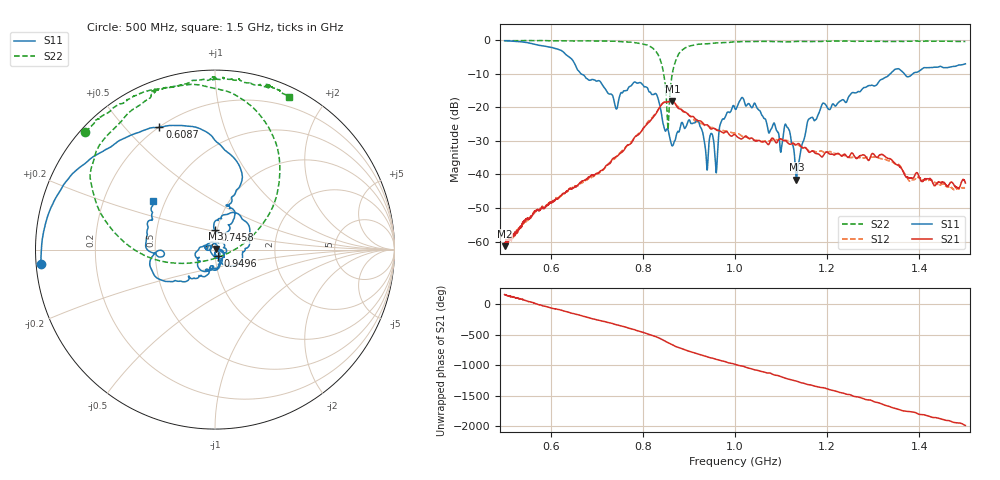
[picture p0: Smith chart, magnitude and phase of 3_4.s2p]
!Agilent Technologies,E8364B,US42250235,A.06.04.32
!Agilent E8364B: A.06.04.32
!Date: Thursday, October 01, 2020 14:39:28
!Correction: S11(Full 2 Port(1,2)) S21(Full 2 Port(1,2)) S12(Full 2 Port(1,2)) S22(Full 2 Port(1,2))
!S2P File: Measurements: S11, S21, S12, S22:
# Hz S  dB  R 50
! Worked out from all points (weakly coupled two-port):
!   2650 points, 500 MHz to 1.5 GHz, reference 50 ohm
!   highest |S21| = -18.28 dB at 864.3 MHz (marker M1); lowest = -61.3 dB at 500.4 MHz (marker M2)
!   lowest |S11| = -41.5 dB at 1.133 GHz (marker M3), VSWR 1.02, Z = 50.6 + j0.583 ohm
!   |S11| at or under -10 dB: 665.2 MHz to 1.338 GHz (672.4 MHz wide, 67.1 % of centre); 1.367 GHz to 1.387 GHz (19.4 MHz wide, 1.41 % of centre)
!   |S22| runs from -26.7 to -0.2 dB; largest |S21 - S12| = 0.019
!   S11 on the Smith chart (normalised r, x): 500 MHz: 0.01, -0.04; 608.7 MHz: 0.20, +0.63; 745.8 MHz: 0.97, +0.21; 949.6 MHz: 1.03, -0.07; 1.5 GHz: 0.43, +0.29
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5e8  -0.23 -175.2  -60.51 160.1  -61.00 161.0  -0.23 137.8
5.003775e8  -0.24 -175.4  -61.32 156.0  -61.18 164.3  -0.23 137.7
6.087203e8  -2.51 114.4  -47.84 -74.4  -47.45 -69.9  -0.29 127.2
6.668554e8  -10.17 71.9  -42.15 173.4  -42.55 171.1  -0.29 120.2
7.457531e8  -19.24 91.2  -34.41 19.6  -34.35 21.6  -0.45 109.4
7.835032e8  -12.53 54.6  -28.75 -60.0  -28.80 -61.7  -0.84 92.5
8.337108e8  -17.76 -45.6  -20.63 173.3  -20.77 166.6  -4.55 52.5
8.540959e8  -26.52 -77.5  -18.42 95.4  -18.40 89.1  -26.19 -49.5
8.642884e8  -31.49 -172.7  -18.28 57.9  -18.32 49.7  -9.75 -169.5
8.93356e8  -25.87 12.4  -21.54 -29.8  -21.63 -39.7  -2.27 153.1
9.209136e8  -24.32 -57.1  -24.03 -95.9  -24.56 -105.1  -1.29 139.6
9.382786e8  -36.66 -87.9  -25.23 -135.6  -25.56 -141.7  -1.15 131.3
9.496036e8  -27.89 -62.9  -26.48 -158.2  -26.07 -166.6  -1.04 125.5
9.590411e8  -39.33 -54.8  -26.71 179.7  -26.56 171.9  -0.90 122.2
9.703662e8  -24.26 -35.9  -27.30 156.6  -26.76 149.0  -0.84 117.5
1.000189e9  -20.51 -97.7  -28.18 95.3  -27.74 84.7  -0.58 112.1
1.099849e9  -33.16 168.8  -29.41 -106.0  -29.49 -117.5  -0.52 106.5
1.112684e9  -25.88 140.9  -30.34 -138.3  -29.94 -147.9  -0.58 102.5
1.133069e9  -41.51 43.2  -31.17 -176.7  -31.03 165.6  -0.45 97.9
1.166667e9  -23.01 -65.3  -33.04 114.9  -33.07 100.3  -0.48 91.7
1.333522e9  -10.48 -143.4  -35.27 130.0  -35.92 124.1  -0.45 78.1
1.5e9  -7.11 142.0  -42.54 176.4  -44.29 166.8  -0.48 64.0
